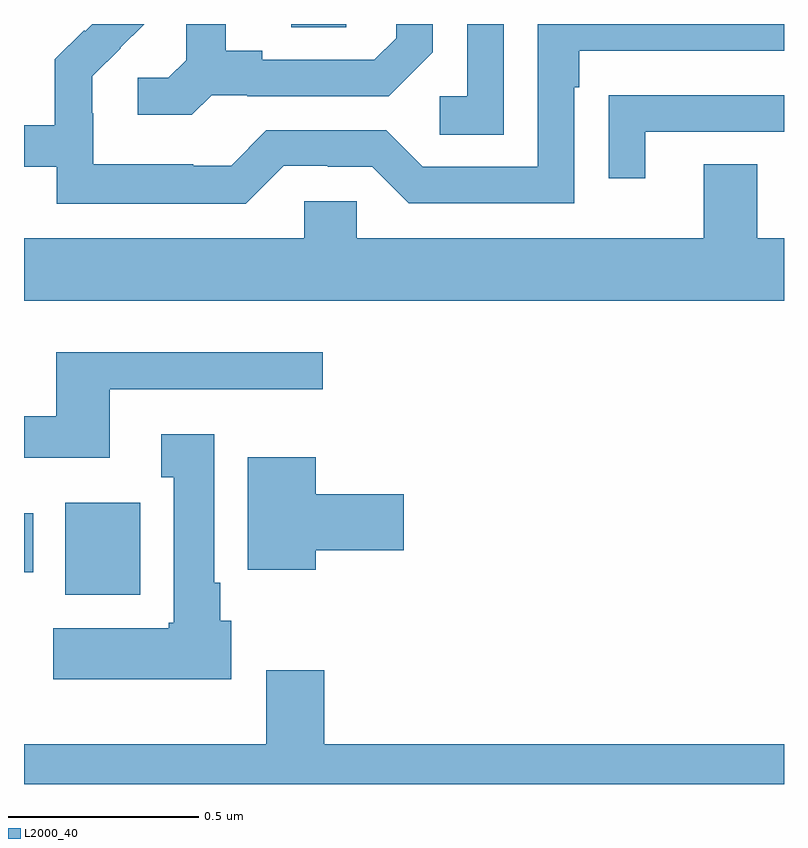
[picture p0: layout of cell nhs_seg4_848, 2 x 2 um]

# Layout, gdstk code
import gdstk
lib = gdstk.Library(unit=1e-6, precision=1e-09)
def R(c, l, rs):  # rectangles x0, y0, x1, y1
    for r in rs: c.add(gdstk.rectangle(r[:2], r[2:], *l))
def P(c, l, *ps):  # polygons
    for p in ps: c.add(gdstk.Polygon(p, *l))
L2000_40 = (2000, 40)

nhs_seg4_848 = lib.new_cell('nhs_seg4_848')
R(nhs_seg4_848, L2000_40, [(121.109,777.398,121.306,777.64), (121,777.457,121.024,777.613), (121.703,778.891,121.848,778.9)])
P(nhs_seg4_848, L2000_40, [(122.262,778.9),(122.166,778.9),(122.166,778.71),(122.094,778.71),(122.094,778.609),(122.262,778.609)],
  [(121.494,778.713),(121.588,778.713),(121.588,778.71),(121.96,778.71),(122.076,778.826),(122.076,778.9),(121.979,778.9),(121.979,778.863),(121.922,778.806),(121.627,778.806),(121.627,778.829),(121.531,778.829),(121.531,778.9),(121.427,778.9),(121.427,778.805),(121.38,778.758),(121.299,778.758),(121.299,778.661),(121.442,778.661)],
  [(121.683,778.527),(121.799,778.527),(121.799,778.524),(121.917,778.524),(122.013,778.428),(122.448,778.428),(122.448,778.733),(122.461,778.733),(122.461,778.83),(123,778.83),(123,778.9),(122.352,778.9),(122.352,778.524),(122.049,778.524),(121.953,778.62),(121.638,778.62),(121.545,778.527),(121.445,778.527),(121.445,778.531),(121.182,778.531),(121.182,778.665),(121.18,778.665),(121.18,778.762),(121.254,778.836),(121.253,778.837),(121.316,778.9),(121.18,778.9),(121.161,778.881),(121.158,778.884),(121.081,778.807),(121.081,778.633),(121,778.633),(121,778.524),(121.086,778.524),(121.086,778.427),(121.583,778.427)],
  [(122.635,778.617),(123,778.617),(123,778.713),(122.641,778.713),(122.641,778.712),(122.539,778.712),(122.539,778.494),(122.635,778.494)],
  [(123,778.336),(122.929,778.336),(122.929,778.531),(122.789,778.531),(122.789,778.336),(121.875,778.336),(121.875,778.434),(121.737,778.434),(121.737,778.336),(121,778.336),(121,778.172),(123,778.172)],
  [(121.225,777.939),(121.786,777.939),(121.786,778.036),(121.085,778.036),(121.085,777.868),(121,777.868),(121,777.758),(121.225,777.758)],
  [(121.546,777.33),(121.516,777.33),(121.516,777.43),(121.501,777.43),(121.501,777.82),(121.361,777.82),(121.361,777.707),(121.394,777.707),(121.394,777.324),(121.381,777.324),(121.381,777.31),(121.077,777.31),(121.077,777.176),(121.546,777.176)],
  [(121.768,777.515),(121.999,777.515),(121.999,777.662),(121.768,777.662),(121.768,777.76),(121.589,777.76),(121.589,777.464),(121.768,777.464)],
  [(123,777.004),(121.79,777.004),(121.79,777.199),(121.637,777.199),(121.637,777.004),(121,777.004),(121,776.9),(123,776.9)])

lib.write_gds('nhs_seg4_848.gds')
